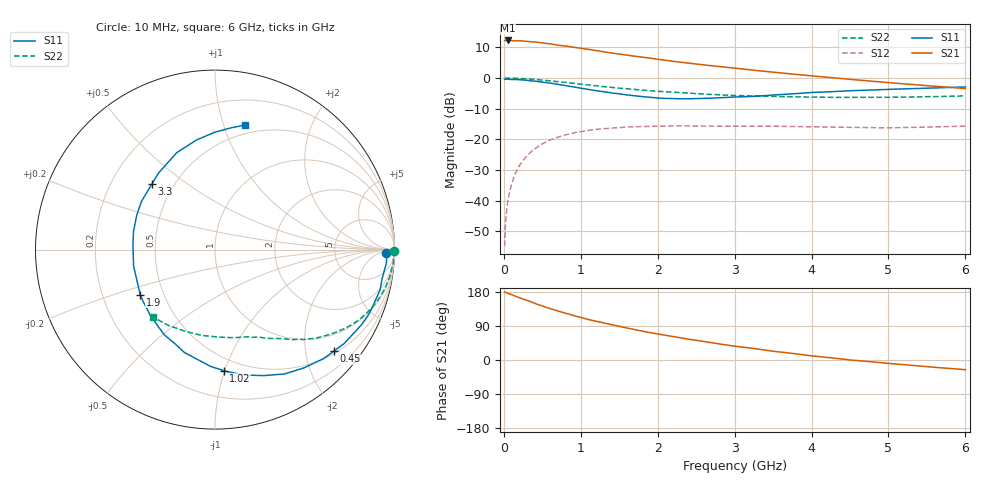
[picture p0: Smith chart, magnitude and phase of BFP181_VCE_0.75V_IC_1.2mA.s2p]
! Infineon Technologies  Discrete & RF Semiconductors
! BFP181
! VCE = 0.75V,  IC =  1.2 mA
! Common Emitter S-Parameters:  Jan 2016
# GHz  S  MA  R  50
!  f  S11  S21  S12  S22
! GHz  MAG  ANG  MAG  ANG  MAG  ANG  MAG  ANG
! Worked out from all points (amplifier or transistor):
!   210 points, 10 MHz to 6 GHz, reference 50 ohm
!   highest |S21| = 12.3 dB at 50 MHz (marker M1)
!   |S21| within 3 dB of that: start of sweep to 1.124 GHz
!   unconditionally stable (mu >= 1): 2.632 GHz to end of sweep
!   at 185 MHz: K = 0.09, MSG = 20.8 dB, |S12| = -29.4 dB
!   at 1.52 GHz: K = 0.61, MSG = 12.0 dB, |S12| = -16.2 dB
!   at 6 GHz: K = 1.37, MAG = 2.5 dB, |S12| = -15.7 dB
!   S11 on the Smith chart (normalised r, x): 10 MHz: 35, -13; 450 MHz: 0.56, -2.61; 1.02 GHz: 0.40, -0.99; 1.9 GHz: 0.37, -0.24; 3.3 GHz: 0.38, +0.37; 6 GHz: 0.42, +1.18
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0.01  0.9506 -1.1  4.096 179.5  0.0018 84.6  0.9978 -0.4
0.02  0.9579 -2.3  4.079 179.1  0.0039 88.0  0.9959 -0.9
0.03  0.9576 -3.1  4.084 178.1  0.0058 89.4  0.9958 -1.4
0.05  0.9576 -4.6  4.098 176.2  0.0095 90.5  0.9959 -2.3
0.11  0.9448 -10.2  4.057 171.6  0.0201 82.5  0.9946 -4.9
0.19  0.9377 -17.4  4.058 165.3  0.0349 78.3  0.9853 -8.5
0.3  0.9173 -27.2  3.958 157.6  0.0536 72.2  0.9689 -13.4
0.4  0.8896 -36.1  3.878 149.5  0.0697 66.8  0.9495 -17.5
0.45  0.871 -40.5  3.803 145.9  0.0768 63.9  0.9371 -19.4
0.6  0.8252 -52.9  3.621 135.8  0.0972 56.4  0.8991 -25.1
0.8  0.7527 -68.9  3.335 123.5  0.1177 47.4  0.8457 -31.3
1.02  0.6756 -85.9  3.026 111.1  0.1346 38.8  0.7864 -37.3
1.2  0.621 -98.7  2.799 102.0  0.1453 32.6  0.7454 -41.6
1.46  0.5583 -117.5  2.499 90.2  0.1539 25.7  0.6903 -46.4
1.9  0.4866 -149.0  2.109 72.4  0.162 16.6  0.6184 -53.4
2.02  0.4691 -157.2  2.009 68.0  0.1636 15.0  0.605 -54.9
2.4  0.4579 178.2  1.758 55.0  0.1654 8.9  0.5647 -60.8
3.1  0.4928 142.4  1.403 34.1  0.1632 2.1  0.5137 -71.3
3.3  0.5065 134.1  1.318 29.0  0.1632 0.8  0.5071 -74.6
4.1  0.5861 109.1  1.056 9.0  0.159 -3.5  0.4853 -90.2
5.1  0.6583 88.7  0.821 -10.6  0.1544 -4.8  0.4852 -112.4
6  0.7141 76.4  0.673 -25.6  0.1642 -4.1  0.5113 -132.8
